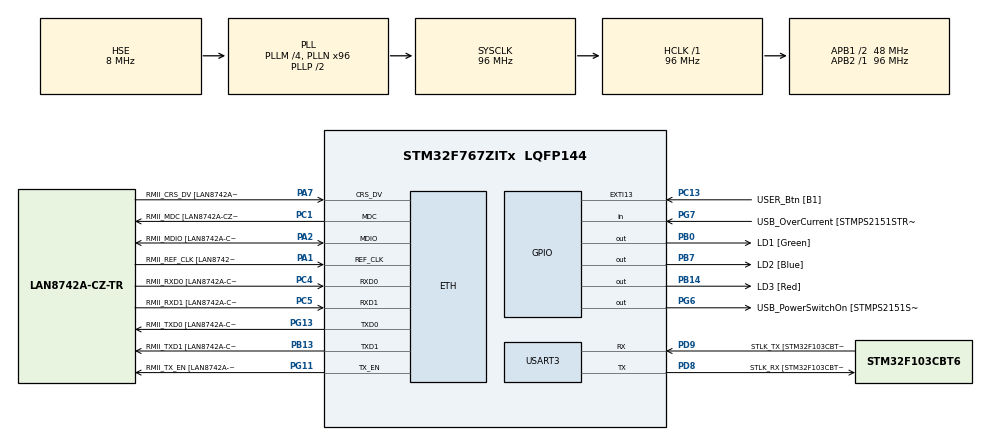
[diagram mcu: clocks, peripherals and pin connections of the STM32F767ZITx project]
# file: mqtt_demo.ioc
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ETH.MediaInterface=HAL_ETH_RMII_MODE
ETH.PHY_Name=LAN8742A_PHY_ADDRESS
ETH.PHY_Value=0
ETH.PhyAddress=0
FREERTOS.Tasks01=mqttTask,0,256,mqtt_manager,Default,NULL,Dynamic,NULL,NULL
FREERTOS.configENABLE_FPU=1
FREERTOS.configUSE_NEWLIB_REENTRANT=1
LWIP.BSP.number=1
LWIP.GATEWAY_ADDRESS=192.168.001.001
LWIP.IP_ADDRESS=192.168.001.122
LWIP.LWIP_DHCP=0
LWIP.LWIP_DNS=1
LWIP.LWIP_NETIF_LINK_CALLBACK=0
LWIP.LWIP_NETIF_STATUS_CALLBACK=1
LWIP.NETMASK_ADDRESS=255.255.255.000
LWIP.Version=v2.1.2_Cube
LWIP0.BSP.STBoard=false
LWIP0.BSP.api=BSP_COMPONENT_DRIVER
LWIP0.BSP.component=LAN8742
LWIP0.BSP.instance=LAN8742
LWIP0.BSP.name=Driver_PHY
LWIP0.BSP.semaphore=S_LAN8742
LWIP0.BSP.solution=LAN8742
Mcu.Family=STM32F7
Mcu.Name=STM32F767ZITx
Mcu.Package=LQFP144
NVIC.ETH_IRQn=true\:5\:0\:false\:false\:true\:true\:false\:true\:true
NVIC.PriorityGroup=NVIC_PRIORITYGROUP_4
NVIC.TIM1_UP_TIM10_IRQn=true\:15\:0\:false\:false\:true\:false\:false\:true\:true
NVIC.TimeBase=TIM1_UP_TIM10_IRQn
NVIC.TimeBaseIP=TIM1
PA1.GPIO_Label=RMII_REF_CLK [LAN8742A-CZ-TR_REFCLK0]
PA1.Mode=RMII
PA1.Signal=ETH_REF_CLK
PA10.GPIO_Label=USB_ID
PA10.Signal=USB_OTG_FS_ID
PA11.GPIO_Label=USB_DM
PA11.Signal=USB_OTG_FS_DM
PA12.GPIO_Label=USB_DP
PA12.Signal=USB_OTG_FS_DP
PA13.GPIO_Label=TMS
PA13.Mode=Serial_Wire
PA13.Signal=SYS_JTMS-SWDIO
PA14.GPIO_Label=TCK
PA14.Mode=Serial_Wire
PA14.Signal=SYS_JTCK-SWCLK
PA2.GPIO_Label=RMII_MDIO [LAN8742A-CZ-TR_MDIO]
PA2.Mode=RMII
PA2.Signal=ETH_MDIO
PA7.GPIO_Label=RMII_CRS_DV [LAN8742A-CZ-TR_CRS_DV]
PA7.Mode=RMII
PA7.Signal=ETH_CRS_DV
PA8.GPIO_Label=USB_SOF [TP1]
PA8.Signal=USB_OTG_FS_SOF
PA9.GPIO_Label=USB_VBUS
PA9.Signal=USB_OTG_FS_VBUS
PB0.GPIO_Label=LD1 [Green]
PB0.Signal=GPIO_Output
PB13.GPIO_Label=RMII_TXD1 [LAN8742A-CZ-TR_TXD1]
PB13.Mode=RMII
PB13.Signal=ETH_TXD1
PB14.GPIO_Label=LD3 [Red]
PB14.Signal=GPIO_Output
PB3.GPIO_Label=SWO
PB3.Signal=SYS_JTDO-SWO
PB7.GPIO_Label=LD2 [Blue]
PB7.Signal=GPIO_Output
PC1.GPIO_Label=RMII_MDC [LAN8742A-CZ-TR_MDC]
PC1.Mode=RMII
PC1.Signal=ETH_MDC
PC13.GPIO_Label=USER_Btn [B1]
PC13.Signal=GPXTI13
PC14/OSC32_IN.Mode=LSE-External-Oscillator
PC14/OSC32_IN.Signal=RCC_OSC32_IN
PC15/OSC32_OUT.Mode=LSE-External-Oscillator
PC15/OSC32_OUT.Signal=RCC_OSC32_OUT
PC4.GPIO_Label=RMII_RXD0 [LAN8742A-CZ-TR_RXD0]
PC4.Mode=RMII
PC4.Signal=ETH_RXD0
PC5.GPIO_Label=RMII_RXD1 [LAN8742A-CZ-TR_RXD1]
PC5.Mode=RMII
PC5.Signal=ETH_RXD1
PD8.GPIO_Label=STLK_RX [STM32F103CBT6_PA3]
PD8.Mode=Asynchronous
PD8.Signal=USART3_TX
PD9.GPIO_Label=STLK_TX [STM32F103CBT6_PA2]
PD9.Mode=Asynchronous
PD9.Signal=USART3_RX
PG11.GPIO_Label=RMII_TX_EN [LAN8742A-CZ-TR_TXEN]
PG11.Mode=RMII
PG11.Signal=ETH_TX_EN
PG13.GPIO_Label=RMII_TXD0 [LAN8742A-CZ-TR_TXD0]
PG13.Mode=RMII
PG13.Signal=ETH_TXD0
PG6.GPIO_Label=USB_PowerSwitchOn [STMPS2151STR_EN]
PG6.Signal=GPIO_Output
PG7.GPIO_Label=USB_OverCurrent [STMPS2151STR_FAULT]
PG7.Signal=GPIO_Input
PH0/OSC_IN.GPIO_Label=MCO [STM32F103CBT6_PA8]
PH0/OSC_IN.Mode=HSE-External-Clock-Source
PH0/OSC_IN.Signal=RCC_OSC_IN
PH1/OSC_OUT.Mode=HSE-External-Clock-Source
PH1/OSC_OUT.Signal=RCC_OSC_OUT
ProjectManager.HeapSize=0x200
ProjectManager.StackSize=0x400
ProjectManager.TargetToolchain=STM32CubeIDE
RCC.48MHZClocksFreq_Value=24000000
RCC.AHBFreq_Value=96000000
RCC.APB1CLKDivider=RCC_HCLK_DIV2
RCC.APB1Freq_Value=48000000
RCC.APB1TimFreq_Value=96000000
RCC.APB2Freq_Value=96000000
RCC.APB2TimFreq_Value=96000000
RCC.CortexFreq_Value=96000000
RCC.HCLKFreq_Value=96000000
RCC.HSE_VALUE=8000000
RCC.HSI_VALUE=16000000
RCC.PLLM=4
RCC.PLLMUL=RCC_PLL_MUL9
RCC.PLLN=96
RCC.PLLQ=4
RCC.PLLSourceVirtual=RCC_PLLSOURCE_HSE
RCC.PRESCALERUSB=RCC_USBCLKSOURCE_PLL_DIV1_5
RCC.SYSCLKFreq_VALUE=96000000
RCC.SYSCLKSource=RCC_SYSCLKSOURCE_PLLCLK
RCC.SYSCLKSourceVirtual=RCC_SYSCLKSOURCE_PLLCLK
RCC.USBFreq_Value=48000000
RCC.VCOOutputFreq_Value=192000000
USART3.VirtualMode-Asynchronous=VM_ASYNC
VP_FREERTOS_VS_CMSIS_V1.Mode=CMSIS_V1
VP_LWIP_VS_Enabled.Mode=Enabled
VP_SYS_VS_tim1.Mode=TIM1
board=NUCLEO-F767ZI

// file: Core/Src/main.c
/* USER CODE BEGIN Header */
/**
  ******************************************************************************
  * @file           : main.c
  * @brief          : Main program body
  ******************************************************************************
  * @attention
  *
  * Copyright (c) 2023 STMicroelectronics.
  * All rights reserved.
  *
  * This software is licensed under terms that can be found in the LICENSE file
  * in the root directory of this software component.
  * If no LICENSE file comes with this software, it is provided AS-IS.
  *
  ******************************************************************************
  */
/* USER CODE END Header */
#include "main.h"
#include "cmsis_os.h"
#include "lwip.h"
#include "mqtt.h"
#include "mqtt_opts.h"
#include "mqtt_priv.h"

UART_HandleTypeDef huart3;

osThreadId mqttTaskHandle;
/* USER CODE BEGIN PV */
static mqtt_client_t* mqtt_client;
static const struct mqtt_connect_client_info_t mqtt_client_info =
{
  "test",
  NULL, /* user */
  NULL, /* pass */
  100,  /* keep alive */
  NULL, /* will_topic */
  NULL, /* will_msg */
  0,    /* will_qos */
  0     /* will_retain */
	#if LWIP_ALTCP && LWIP_ALTCP_TLS
	  , NULL
	#endif
};

static ip_addr_t MQTT_SERVER;
/* USER CODE END PV */

void SystemClock_Config(void);
static void MX_GPIO_Init(void);
static void MX_USART3_UART_Init(void);
void mqtt_manager(void const * argument);

int main(void)
{

  /* MCU Configuration--------------------------------------------------------*/

  /* Reset of all peripherals, Initializes the Flash interface and the Systick. */
  HAL_Init();

  /* Configure the system clock */
  SystemClock_Config();

  /* Initialize all configured peripherals */
  MX_GPIO_Init();
  MX_USART3_UART_Init();

  /* Create the thread(s) */
  /* definition and creation of mqttTask */
  osThreadDef(mqttTask, mqtt_manager, osPriorityNormal, 0, 256);
  mqttTaskHandle = osThreadCreate(osThread(mqttTask), NULL);

  /* Start scheduler */
  osKernelStart();
  /* We should never get here as control is now taken by the scheduler */
  /* Infinite loop */
  /* USER CODE BEGIN WHILE */
  printf("[main.c] FreeRTOS Started\r\n");
  while (1)
  {
    /* USER CODE END WHILE */

  }
}

void SystemClock_Config(void)
{
  RCC_OscInitTypeDef RCC_OscInitStruct = {0};
  RCC_ClkInitTypeDef RCC_ClkInitStruct = {0};

  /** Configure LSE Drive Capability
  */
  HAL_PWR_EnableBkUpAccess();

  /** Configure the main internal regulator output voltage
  */
  __HAL_RCC_PWR_CLK_ENABLE();
  __HAL_PWR_VOLTAGESCALING_CONFIG(PWR_REGULATOR_VOLTAGE_SCALE3);

  /** Initializes the RCC Oscillators according to the specified parameters
  * in the RCC_OscInitTypeDef structure.
  */
  RCC_OscInitStruct.OscillatorType = RCC_OSCILLATORTYPE_HSE;
  RCC_OscInitStruct.HSEState = RCC_HSE_BYPASS;
  RCC_OscInitStruct.PLL.PLLState = RCC_PLL_ON;
  RCC_OscInitStruct.PLL.PLLSource = RCC_PLLSOURCE_HSE;
  RCC_OscInitStruct.PLL.PLLM = 4;
  RCC_OscInitStruct.PLL.PLLN = 96;
  RCC_OscInitStruct.PLL.PLLP = RCC_PLLP_DIV2;
  RCC_OscInitStruct.PLL.PLLQ = 4;
  RCC_OscInitStruct.PLL.PLLR = 2;
  if (HAL_RCC_OscConfig(&RCC_OscInitStruct) != HAL_OK)
  {
    Error_Handler();
  }

  /** Activate the Over-Drive mode
  */
  if (HAL_PWREx_EnableOverDrive() != HAL_OK)
  {
    Error_Handler();
  }

  /** Initializes the CPU, AHB and APB buses clocks
  */
  RCC_ClkInitStruct.ClockType = RCC_CLOCKTYPE_HCLK|RCC_CLOCKTYPE_SYSCLK
                              |RCC_CLOCKTYPE_PCLK1|RCC_CLOCKTYPE_PCLK2;
  RCC_ClkInitStruct.SYSCLKSource = RCC_SYSCLKSOURCE_PLLCLK;
  RCC_ClkInitStruct.AHBCLKDivider = RCC_SYSCLK_DIV1;
  RCC_ClkInitStruct.APB1CLKDivider = RCC_HCLK_DIV2;
  RCC_ClkInitStruct.APB2CLKDivider = RCC_HCLK_DIV1;

  if (HAL_RCC_ClockConfig(&RCC_ClkInitStruct, FLASH_LATENCY_3) != HAL_OK)
  {
    Error_Handler();
  }
}

static void MX_USART3_UART_Init(void)
{

  huart3.Instance = USART3;
  huart3.Init.BaudRate = 115200;
  huart3.Init.WordLength = UART_WORDLENGTH_8B;
  huart3.Init.StopBits = UART_STOPBITS_1;
  huart3.Init.Parity = UART_PARITY_NONE;
  huart3.Init.Mode = UART_MODE_TX_RX;
  huart3.Init.HwFlowCtl = UART_HWCONTROL_NONE;
  huart3.Init.OverSampling = UART_OVERSAMPLING_16;
  huart3.Init.OneBitSampling = UART_ONE_BIT_SAMPLE_DISABLE;
  huart3.AdvancedInit.AdvFeatureInit = UART_ADVFEATURE_NO_INIT;
  if (HAL_UART_Init(&huart3) != HAL_OK)
  {
    Error_Handler();
  }

}

static void MX_GPIO_Init(void)
{
  GPIO_InitTypeDef GPIO_InitStruct = {0};

  /* GPIO Ports Clock Enable */
  __HAL_RCC_GPIOC_CLK_ENABLE();
  __HAL_RCC_GPIOH_CLK_ENABLE();
  __HAL_RCC_GPIOA_CLK_ENABLE();
  __HAL_RCC_GPIOB_CLK_ENABLE();
  __HAL_RCC_GPIOD_CLK_ENABLE();
  __HAL_RCC_GPIOG_CLK_ENABLE();

  /*Configure GPIO pin Output Level */
  HAL_GPIO_WritePin(GPIOB, LD1_Pin|LD3_Pin|LD2_Pin, GPIO_PIN_RESET);

  /*Configure GPIO pin Output Level */
  HAL_GPIO_WritePin(USB_PowerSwitchOn_GPIO_Port, USB_PowerSwitchOn_Pin, GPIO_PIN_RESET);

  /*Configure GPIO pin : USER_Btn_Pin */
  GPIO_InitStruct.Pin = USER_Btn_Pin;
  GPIO_InitStruct.Mode = GPIO_MODE_IT_RISING;
  GPIO_InitStruct.Pull = GPIO_NOPULL;
  HAL_GPIO_Init(USER_Btn_GPIO_Port, &GPIO_InitStruct);

  /*Configure GPIO pins : LD1_Pin LD3_Pin LD2_Pin */
  GPIO_InitStruct.Pin = LD1_Pin|LD3_Pin|LD2_Pin;
  GPIO_InitStruct.Mode = GPIO_MODE_OUTPUT_PP;
  GPIO_InitStruct.Pull = GPIO_NOPULL;
  GPIO_InitStruct.Speed = GPIO_SPEED_FREQ_LOW;
  HAL_GPIO_Init(GPIOB, &GPIO_InitStruct);

  /*Configure GPIO pin : USB_PowerSwitchOn_Pin */
  GPIO_InitStruct.Pin = USB_PowerSwitchOn_Pin;
  GPIO_InitStruct.Mode = GPIO_MODE_OUTPUT_PP;
  GPIO_InitStruct.Pull = GPIO_NOPULL;
  GPIO_InitStruct.Speed = GPIO_SPEED_FREQ_LOW;
  HAL_GPIO_Init(USB_PowerSwitchOn_GPIO_Port, &GPIO_InitStruct);

  /*Configure GPIO pin : USB_OverCurrent_Pin */
  GPIO_InitStruct.Pin = USB_OverCurrent_Pin;
  GPIO_InitStruct.Mode = GPIO_MODE_INPUT;
  GPIO_InitStruct.Pull = GPIO_NOPULL;
  HAL_GPIO_Init(USB_OverCurrent_GPIO_Port, &GPIO_InitStruct);

  /*Configure GPIO pins : USB_SOF_Pin USB_ID_Pin USB_DM_Pin USB_DP_Pin */
  GPIO_InitStruct.Pin = USB_SOF_Pin|USB_ID_Pin|USB_DM_Pin|USB_DP_Pin;
  GPIO_InitStruct.Mode = GPIO_MODE_AF_PP;
  GPIO_InitStruct.Pull = GPIO_NOPULL;
  GPIO_InitStruct.Speed = GPIO_SPEED_FREQ_VERY_HIGH;
  GPIO_InitStruct.Alternate = GPIO_AF10_OTG_FS;
  HAL_GPIO_Init(GPIOA, &GPIO_InitStruct);

  /*Configure GPIO pin : USB_VBUS_Pin */
  GPIO_InitStruct.Pin = USB_VBUS_Pin;
  GPIO_InitStruct.Mode = GPIO_MODE_INPUT;
  GPIO_InitStruct.Pull = GPIO_NOPULL;
  HAL_GPIO_Init(USB_VBUS_GPIO_Port, &GPIO_InitStruct);

}

/* USER CODE BEGIN 4 */
/*
  * @brief  Retargets the C library printf function to the USART.
  * @param  None
  * @retval None
  */
PUTCHAR_PROTOTYPE
{
  HAL_UART_Transmit(&huart3, (uint8_t *)&ch, 1, 0xFFFF);
  return ch;
}
static void mqtt_publish_cb_t(void *arg, err_t err){
	printf("[main.c] Message sended with error code: %d\r\n",err);
}

static void mqtt_request_cb(void *arg, err_t err)
{
  const struct mqtt_connect_client_info_t* client_info = (const struct mqtt_connect_client_info_t*)arg;
  LWIP_PLATFORM_DIAG(("MQTT SUB callback client \"%s\" request cb: err %d\r\n", client_info->client_id, (int)err));
}

static void mqtt_incoming_publish_cb(void *arg, const char *topic, u32_t tot_len)
{
  const struct mqtt_connect_client_info_t* client_info = (const struct mqtt_connect_client_info_t*)arg;
  LWIP_PLATFORM_DIAG(("MQTT client \"%s\" publish cb: topic %s, len %d\r\n", client_info->client_id,
          topic, (int)tot_len));
}

static void mqtt_incoming_data_cb(void *arg, const u8_t *data, u16_t len, u8_t flags)
{
  const struct mqtt_connect_client_info_t* client_info = (const struct mqtt_connect_client_info_t*)arg;
  LWIP_UNUSED_ARG(data);
  LWIP_PLATFORM_DIAG(("MQTT client \"%s\" data cb: len %d, flags %d\r\n", client_info->client_id,
          (int)len, (int)flags));
}

static void mqtt_connection_cb(mqtt_client_t *client, void *arg, mqtt_connection_status_t status)
{
  const struct mqtt_connect_client_info_t* client_info = (const struct mqtt_connect_client_info_t*)arg;
  LWIP_UNUSED_ARG(client);
  LWIP_PLATFORM_DIAG(("MQTT client \"%s\" connection cb: status %d\r\n", client_info->client_id, (int)status));

  if (status == MQTT_CONNECT_ACCEPTED) {
	/*  mqtt_subscribe(client,
            "test", 0,
            mqtt_request_cb, LWIP_CONST_CAST(void*, client_info));
    mqtt_sub_unsub(client,
            "test", 0,
            mqtt_request_cb, LWIP_CONST_CAST(void*, client_info),
            1);*/
	  printf("[main.c] MQTT connected correctly\r\n");
  }
}

/* USER CODE END 4 */

void mqtt_manager(void const * argument)
{
  /* init code for LWIP */
  MX_LWIP_Init();
  /* USER CODE BEGIN 5 */
  printf("[main.c] LWIP Init\r\n");
  printf("[main.c] Setting MQTT connection\r\n");
  uint16_t mqttPort = 1883;
  uint8_t flag = ipaddr_aton("192.168.1.219",&MQTT_SERVER);
  if(flag){
	  printf("[main.c] IP server converted correctly\r\n");
  }else{
	  printf("[main.c] Something go wrong converting the IP\r\n");
  }
  mqtt_client = mqtt_client_new();
  mqtt_set_inpub_callback(mqtt_client,
          mqtt_incoming_publish_cb,
          mqtt_incoming_data_cb,
          LWIP_CONST_CAST(void*, &mqtt_client_info));
  mqtt_client_connect(mqtt_client,
		  &MQTT_SERVER, mqttPort,
          mqtt_connection_cb, LWIP_CONST_CAST(void*, &mqtt_client_info),
          &mqtt_client_info);

  //Subscribe to topic test

  //mqtt_subscribe(mqtt_client,"test",1,mqtt_sub_request_cb,NULL);
  /* Infinite loop */
  int8_t ret=100;
  char *msg = "Hello from STM32";
  for(;;)
  {
	  ret = mqtt_publish(mqtt_client,"test",msg,16,0,0,mqtt_publish_cb_t,NULL);
	  printf("[main.c] Publication flag is %d\r\n",ret);
	  osDelay(1000);
  }
  /* USER CODE END 5 */
}

void HAL_TIM_PeriodElapsedCallback(TIM_HandleTypeDef *htim)
{
  if (htim->Instance == TIM1) {
    HAL_IncTick();
  }
}

void Error_Handler(void)
{
  /* USER CODE BEGIN Error_Handler_Debug */
  /* User can add his own implementation to report the HAL error return state */
  __disable_irq();
  HAL_GPIO_TogglePin(GPIOB, GPIO_PIN_0);
  while (1){}
  /* USER CODE END Error_Handler_Debug */
}
